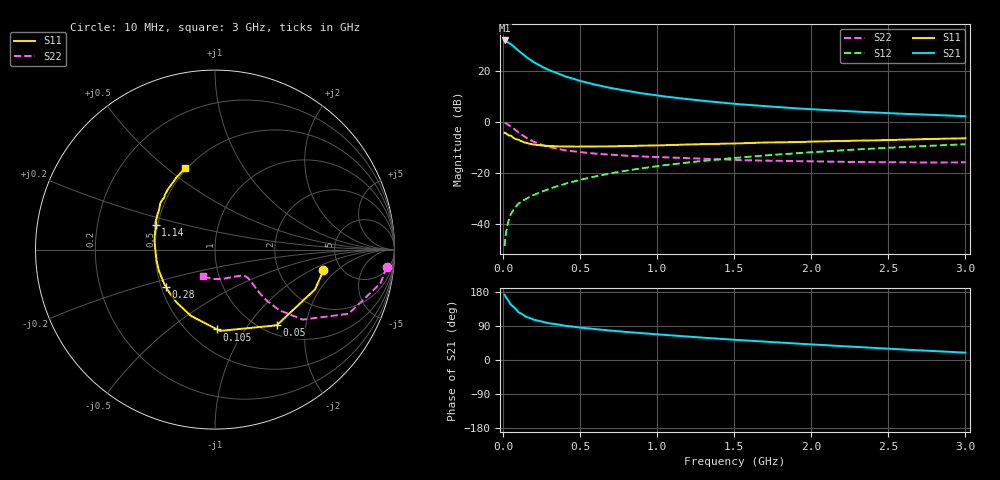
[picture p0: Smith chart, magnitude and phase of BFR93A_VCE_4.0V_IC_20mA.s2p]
! Infineon Technologies  Discrete & RF Semiconductors
! BFR93A
! VCE =  4.0 V,  IC =  20 mA
! Common Emitter S-Parameters:  Nov 2015
# GHz  S  MA  R  50
!  f  S11  S21  S12  S22
! GHz  MAG  ANG  MAG  ANG  MAG  ANG  MAG  ANG
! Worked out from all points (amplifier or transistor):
!   180 points, 10 MHz to 3 GHz, reference 50 ohm
!   highest |S21| = 32.0 dB at 10 MHz (marker M1)
!   |S21| within 3 dB of that: start of sweep to 79.96 MHz
!   unconditionally stable (mu >= 1): 435.3 MHz to 2.745 GHz
!   at 160 MHz: K = 0.69, MSG = 27.4 dB, |S12| = -29.7 dB
!   at 1.22 GHz: K = 1.08, MAG = 10.6 dB, |S12| = -15.7 dB
!   at 3 GHz: K = 0.99, MSG = 5.5 dB, |S12| = -8.7 dB
!   S11 on the Smith chart (normalised r, x): 10 MHz: 3.65, -1.37; 50 MHz: 1.16, -1.39; 105 MHz: 0.68, -0.76; 280 MHz: 0.53, -0.25; 1.14 GHz: 0.49, +0.16; 3 GHz: 0.49, +0.58
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0.01  0.6152 -10.9  39.83 172.1  0.0037 85.0  0.9617 -5.9
0.02  0.5999 -21.6  38.87 165.0  0.0071 80.7  0.9411 -11.5
0.05  0.5443 -50.8  33.98 146.2  0.0158 70.7  0.8263 -25.6
0.1  0.4538 -86.5  25.08 125.9  0.0252 62.6  0.6255 -38.6
0.105  0.4447 -88.5  24.42 125.0  0.0258 62.4  0.612 -39.0
0.15  0.3926 -110.0  18.88 113.8  0.0315 61.0  0.492 -43.3
0.2  0.3641 -126.0  14.93 106.4  0.0375 62.3  0.4109 -44.5
0.24  0.3505 -135.6  12.79 102.1  0.042 63.1  0.3689 -44.4
0.26  0.3465 -139.7  11.89 100.1  0.0443 63.7  0.3515 -44.3
0.28  0.343 -143.1  11.14 98.6  0.0467 64.3  0.3378 -44.0
0.3  0.3407 -146.5  10.4 96.8  0.0491 64.9  0.324 -43.7
0.4  0.3341 -159.9  7.928 90.5  0.0614 66.8  0.2806 -42.1
0.52  0.3309 -171.4  6.213 84.8  0.0763 67.8  0.2536 -41.0
0.6  0.3318 -177.4  5.4 81.3  0.0863 68.0  0.2402 -40.8
0.7  0.3349 176.9  4.654 77.5  0.0992 67.9  0.2292 -41.1
0.8  0.3406 171.9  4.103 73.9  0.1117 67.7  0.2198 -41.8
1.02  0.3502 161.5  3.263 67.1  0.1393 66.0  0.2055 -45.0
1.14  0.3591 157.2  2.95 63.6  0.1544 64.9  0.1987 -47.6
1.52  0.3822 144.6  2.256 52.9  0.2005 61.1  0.1812 -57.1
2.02  0.4161 131.7  1.775 40.8  0.2588 55.4  0.1691 -73.1
2.52  0.4475 120.3  1.489 29.5  0.3162 49.3  0.1632 -91.8
3  0.4824 110.0  1.304 19.3  0.3683 43.2  0.1632 -114.4
